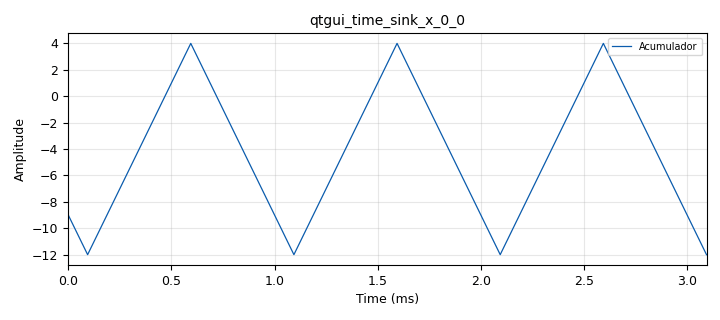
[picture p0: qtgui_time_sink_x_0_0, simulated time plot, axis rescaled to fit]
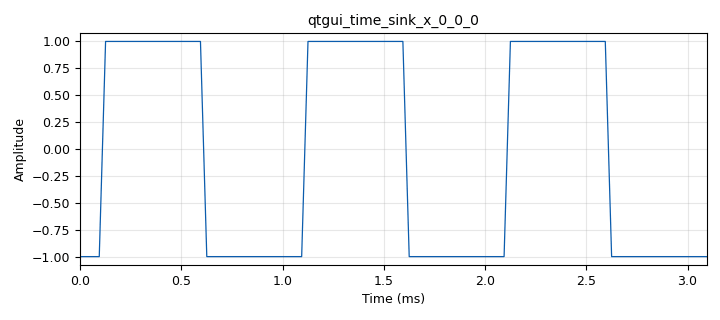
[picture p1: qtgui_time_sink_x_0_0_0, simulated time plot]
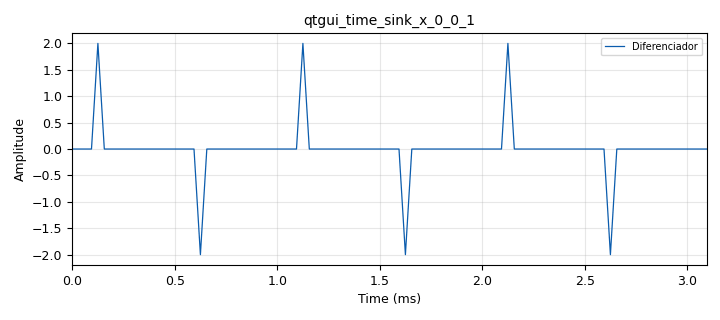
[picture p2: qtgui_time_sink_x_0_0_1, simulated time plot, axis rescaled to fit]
options:
  parameters:
    generate_options: qt_gui
    id: diferenciador
    output_language: python
    title: Not titled yet
  states: {}

blocks:
- name: samp_rate
  id: variable
  parameters:
    value: '32000'
  states: {}
- name: blocks_throttle2_0_0
  id: blocks_throttle2
  parameters:
    samples_per_second: samp_rate
    type: float
  states: {}
- name: blocks_vector_source_x_0_0
  id: blocks_vector_source_x
  parameters:
    repeat: 'True'
    type: float
    vector: (1, 1, 1, 1, 1, 1, 1, 1,1, 1, 1, 1, 1, 1, 1, 1, -1, -1, -1, -1, -1, -1, -1, -1 ,-1, -1, -1, -1, -1, -1, -1, -1)
  states: {}
- name: epy_block_0_1_0
  id: epy_block
  parameters:
    _source_code: |
      """
      Embedded Python Blocks:

      Each time this file is saved, GRC will instantiate the first class it finds
      to get ports and parameters of your block. The arguments to __init__  will
      be the parameters. All of them are required to have default values!
      """

      import numpy as np
      from gnuradio import gr


      class blk(gr.sync_block):  # other base classes are basic_block, decim_block, interp_block
          """Embedded Python Block example - a simple multiply const"""

          def __init__(self):  # only default arguments here
              """arguments to this function show up as parameters in GRC"""
              gr.sync_block.__init__(
                  self,
                  name='e_Acum',   # will show up in GRC
                  in_sig=[np.float32],
                  out_sig=[np.float32]
              )
              # if an attribute with the same name as a parameter is found,
              # a callback is registered (properties work, too).

          def work(self, input_items, output_items):
              """example: multiply with constant"""
              x= input_items[0] #Serial de entrada
              y0= output_items[0] #Serial acumulada
              y0[:] = np.cumsum(x)
              return len(y0)
  states: {}
- name: epy_block_1_0
  id: epy_block
  parameters:
    _source_code: |
      import numpy as np
      from gnuradio import gr

      class differentiator(gr.sync_block):
          def __init__(self):
              gr.sync_block.__init__(self,
                  name="eDiff",
                  in_sig=[np.float32],
                  out_sig=[np.float32])
              self.prev = 0.0  # valor anterior de la señal

          def work(self, input_items, output_items):
              x = input_items[0]
              y = output_items[0]

              # Diferenciación discreta: y[n] = x[n] - x[n-1]
              y[0] = x[0] - self.prev
              for i in range(1, len(x)):
                  y[i] = x[i] - x[i-1]

              # Guardar último valor para la próxima llamada
              self.prev = x[-1]

              return len(y)
  states: {}
- name: qtgui_time_sink_x_0_0
  id: qtgui_time_sink_x
  parameters:
    label1: Acumulador
    size: '100'
    srate: samp_rate
    type: float
  states: {}
- name: qtgui_time_sink_x_0_0_0
  id: qtgui_time_sink_x
  parameters:
    size: '100'
    srate: samp_rate
    type: float
  states: {}
- name: qtgui_time_sink_x_0_0_1
  id: qtgui_time_sink_x
  parameters:
    label1: Diferenciador
    size: '100'
    srate: samp_rate
    type: float
  states: {}

connections:
- [blocks_throttle2_0_0, '0', epy_block_0_1_0, '0']
- [blocks_throttle2_0_0, '0', epy_block_1_0, '0']
- [blocks_throttle2_0_0, '0', qtgui_time_sink_x_0_0_0, '0']
- [blocks_vector_source_x_0_0, '0', blocks_throttle2_0_0, '0']
- [epy_block_0_1_0, '0', qtgui_time_sink_x_0_0, '0']
- [epy_block_1_0, '0', qtgui_time_sink_x_0_0_1, '0']

metadata:
  file_format: 1
  grc_version: v3.10.11.0-89-ga17f69e7
